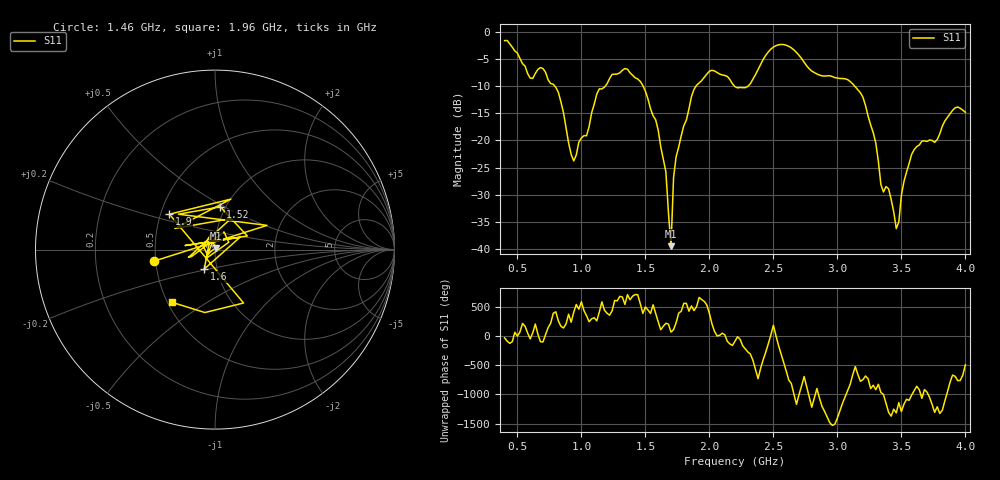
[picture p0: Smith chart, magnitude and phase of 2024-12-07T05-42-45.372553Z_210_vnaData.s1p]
!Created with skrf (http://scikit-rf.org).
# Hz S RI R 50.0
!freq ReS11 ImS11
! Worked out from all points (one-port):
!   181 points, 400 MHz to 4 GHz, reference 50 ohm
!   lowest |S11| = -39.5 dB at 1.7 GHz (marker M1), VSWR 1.02, Z = 50.4 + j0.97 ohm
!   |S11| at or under -10 dB: 791.7 MHz to 1.187 GHz (395.3 MHz wide, 40 % of centre); 1.482 GHz to 1.896 GHz (414.4 MHz wide, 24.5 % of centre); 3.134 GHz to end of sweep (the widest 3 of 4)
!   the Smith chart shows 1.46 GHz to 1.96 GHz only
!   S11 on the Smith chart (normalised r, x): 1.46 GHz: 0.49, -0.07; 1.52 GHz: 0.94, +0.48; 1.6 GHz: 0.87, -0.19; 1.9 GHz: 0.56, +0.24; 1.96 GHz: 0.53, -0.36
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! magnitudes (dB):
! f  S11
! 400 MHz  -1.7
! 600 MHz  -8.5
! 700 MHz  -6.8
! 860 MHz  -14.9
! 940 MHz  -23.8
! 1.14 GHz  -10.5
! 1.3 GHz  -7.6
! 1.46 GHz  -9.2
! 1.52 GHz  -12.4
! 1.6 GHz  -18.1
! 1.66 GHz  -25.8
! 1.7 GHz  -39.5
! 1.72 GHz  -26.8
! 1.76 GHz  -21.2
! 1.9 GHz  -9.9
! 1.96 GHz  -8.4
! 2.2 GHz  -10.1
! 2.5 GHz  -2.8
! 2.66 GHz  -3.4
! 3.1 GHz  -9.2
! 3.2 GHz  -12.1
! 3.3 GHz  -20.5
! 3.34 GHz  -28.1
! 3.4 GHz  -28.9
! 3.46 GHz  -36.2
! 3.56 GHz  -24.3
! 3.92 GHz  -14.0
! 4 GHz  -14.8
